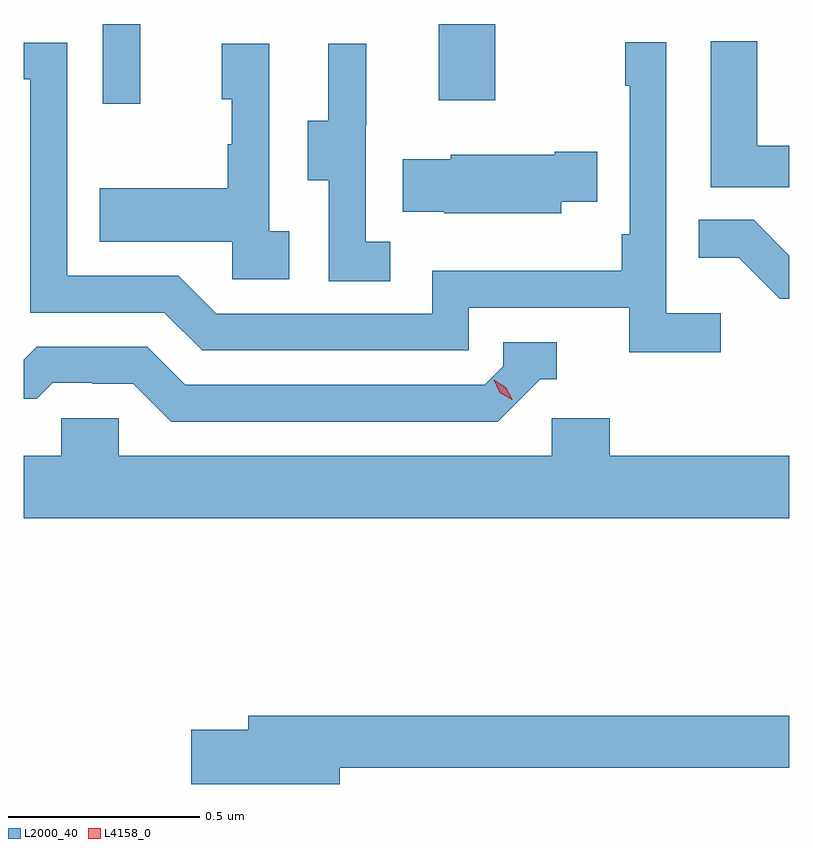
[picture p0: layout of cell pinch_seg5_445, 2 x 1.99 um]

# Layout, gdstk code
import gdstk
lib = gdstk.Library(unit=1e-6, precision=1e-09)
def R(c, l, rs):  # rectangles x0, y0, x1, y1
    for r in rs: c.add(gdstk.rectangle(r[:2], r[2:], *l))
def P(c, l, *ps):  # polygons
    for p in ps: c.add(gdstk.Polygon(p, *l))
L2000_40 = (2000, 40)
L4158_0 = (4158, 0)

pinch_seg5_445 = lib.new_cell('pinch_seg5_445')
R(pinch_seg5_445, L2000_40, [(915.687,867.168,915.785,867.376), (916.565,867.177,916.713,867.376)])
P(pinch_seg5_445, L2000_40, [(917.481,867.058),(917.398,867.058),(917.398,867.331),(917.276,867.331),(917.276,866.949),(917.481,866.949)],
  [(917.302,866.62),(917.16,866.62),(917.16,867.328),(917.052,867.328),(917.052,867.215),(917.064,867.215),(917.064,866.827),(917.044,866.827),(917.044,866.731),(916.548,866.731),(916.548,866.619),(915.984,866.619),(915.885,866.718),(915.594,866.718),(915.594,867.327),(915.481,867.327),(915.481,867.231),(915.498,867.231),(915.498,866.622),(915.848,866.622),(915.947,866.523),(916.644,866.523),(916.644,866.634),(917.063,866.634),(917.063,866.518),(917.302,866.518)],
  [(916.438,866.807),(916.374,866.807),(916.374,867.111),(916.376,867.111),(916.376,867.325),(916.277,867.325),(916.277,867.123),(916.223,867.123),(916.223,866.968),(916.278,866.968),(916.278,866.704),(916.438,866.704)],
  [(916.174,866.834),(916.122,866.834),(916.122,867.325),(915.998,867.325),(915.998,867.18),(916.024,867.18),(916.024,867.062),(916.014,867.062),(916.014,866.947),(915.679,866.947),(915.679,866.807),(916.026,866.807),(916.026,866.709),(916.174,866.709)],
  [(916.885,866.912),(916.979,866.912),(916.979,867.042),(916.868,867.042),(916.868,867.034),(916.596,867.034),(916.596,867.022),(916.471,867.022),(916.471,866.885),(916.579,866.885),(916.579,866.882),(916.885,866.882)],
  [(917.481,866.771),(917.388,866.864),(917.245,866.864),(917.245,866.765),(917.349,866.765),(917.456,866.658),(917.481,866.658)],
  [(916.83,866.448),(916.873,866.448),(916.873,866.544),(916.734,866.544),(916.734,866.481),(916.686,866.433),(915.903,866.433),(915.804,866.532),(915.515,866.532),(915.481,866.498),(915.481,866.397),(915.515,866.397),(915.557,866.439),(915.66,866.439),(915.66,866.436),(915.767,866.436),(915.866,866.337),(916.719,866.337)],
  [(917.481,866.248),(917.012,866.248),(917.012,866.346),(916.86,866.346),(916.86,866.248),(915.729,866.248),(915.729,866.346),(915.579,866.346),(915.579,866.248),(915.481,866.248),(915.481,866.084),(917.481,866.084)],
  [(916.306,865.432),(917.481,865.432),(917.481,865.568),(916.067,865.568),(916.067,865.532),(915.918,865.532),(915.918,865.39),(916.306,865.39)])
P(pinch_seg5_445, L4158_0, [(916.756,866.394),(916.725,866.413),(916.709,866.446),(916.709,866.446),(916.709,866.446),(916.74,866.427),(916.757,866.395),(916.757,866.394)])

lib.write_gds('pinch_seg5_445.gds')
